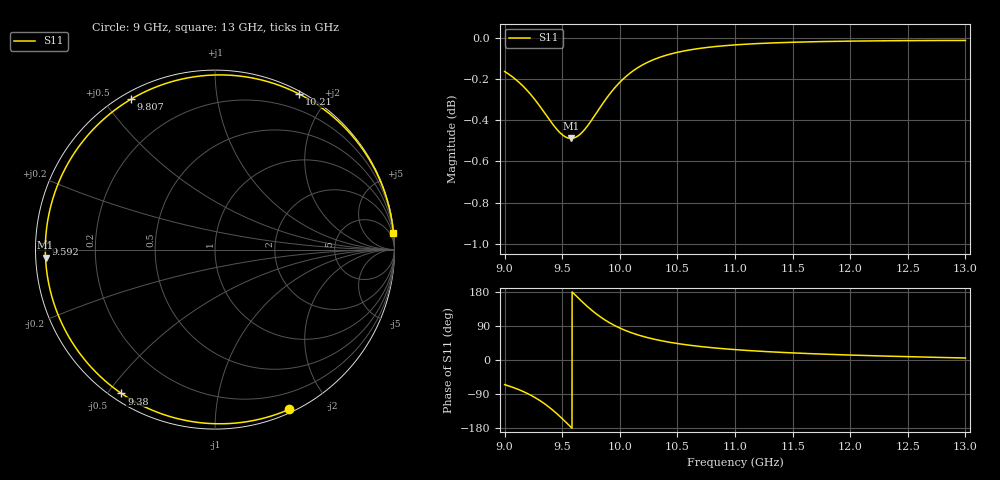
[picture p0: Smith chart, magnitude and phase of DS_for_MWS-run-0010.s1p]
! TOUCHSTONE file generated by CST DESIGN STUDIO
! Date and time: Tue Feb  4 14:05:45 2025
! Project name: C:\Work\MatlabApps\UnitCellOptimizationMatlab\CST\unitcell.cst
! Tree item: Tasks\Sweep1\SPara1\S-Parameters
! Header version: 2024
! Port assignment regex: !\s*Touchstone port\s*([0-9]+)\s*=\s*(CST MWS port|CST DES external port|CST DES block port)\s*(.+)\s* \(\"(.*)\"\)(\s*mode\s*([0-9]+))?.*
! Touchstone port assignment:
! Touchstone port 1 = CST DES external port 1 ("")
# GHz S MA R 50
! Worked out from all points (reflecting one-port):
!   4001 points, 9 GHz to 13 GHz, reference 50 ohm
!   lowest |S11| = -0.5 dB at 9.576 GHz (marker M1), VSWR 35.60, Z = 1.41 - j1.2 ohm
!   phase of S11 starts at -65 deg and turns -290 deg over the sweep
!   S11 on the Smith chart (normalised r, x): 9 GHz: 0.03, -1.57; 9.38 GHz: 0.03, -0.54; 9.592 GHz: 0.03, +0.02; 9.807 GHz: 0.03, +0.59; 10.21 GHz: 0.03, +1.68; 13 GHz: 0, +22
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9  0.9814 -65.0
9.046  0.9795 -69.5
9.114  0.9761 -77.1
9.23  0.9686 -93.4
9.31  0.9622 -107.8
9.38  0.9561 -123.0
9.439  0.9512 -137.8
9.5  0.9473 -154.7
9.539  0.9458 -166.1
9.576  0.9454 -177.3
9.592  0.9454 177.9
9.647  0.9471 161.4
9.708  0.9511 144.0
9.757  0.9552 131.1
9.807  0.9599 119.1
9.85  0.9638 109.9
9.895  0.9677 101.2
10  0.9755 84.3
10.1  0.9811 72.0
10.21  0.9855 61.5
10.343  0.9892 51.9
10.5  0.992 43.5
10.72  0.9944 34.9
11  0.9962 27.4
11.5  0.9976 18.7
12  0.9983 13.0
12.5  0.9986 8.8
13  0.9986 5.3
